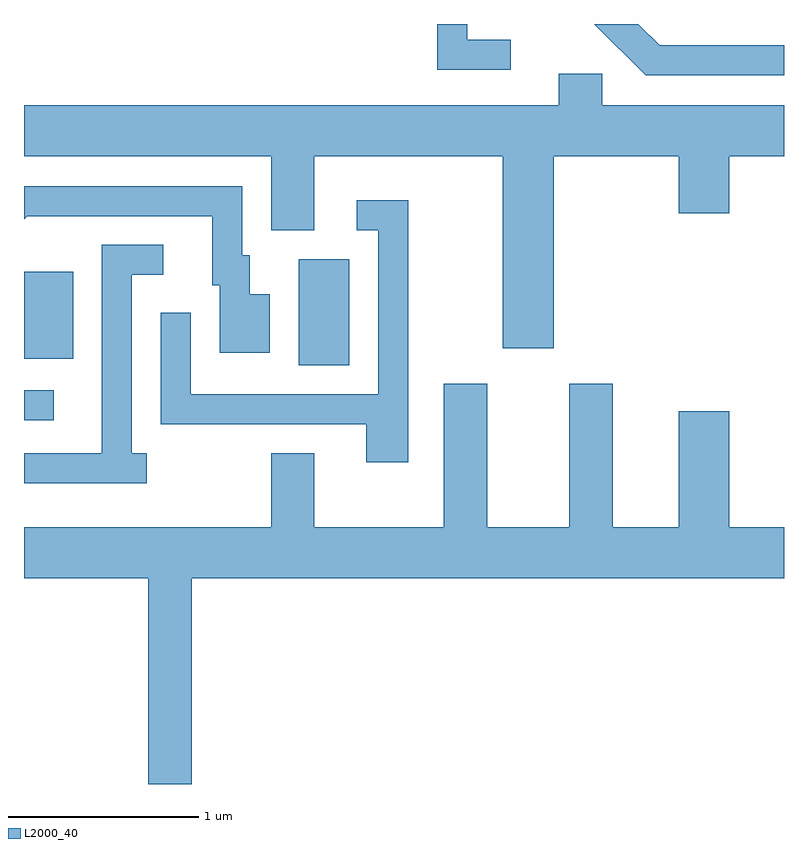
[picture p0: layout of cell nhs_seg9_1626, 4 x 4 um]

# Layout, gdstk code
import gdstk
lib = gdstk.Library(unit=1e-6, precision=1e-09)
def R(c, l, rs):  # rectangles x0, y0, x1, y1
    for r in rs: c.add(gdstk.rectangle(r[:2], r[2:], *l))
def P(c, l, *ps):  # polygons
    for p in ps: c.add(gdstk.Polygon(p, *l))
L2000_40 = (2000, 40)

nhs_seg9_1626 = lib.new_cell('nhs_seg9_1626')
R(nhs_seg9_1626, L2000_40, [(231.611,2070.346,231.768,2070.504), (233.056,2070.636,233.324,2071.194), (231.611,2070.671,231.869,2071.129)])
P(nhs_seg9_1626, L2000_40, [(235.611,2072.319),(234.957,2072.319),(234.844,2072.432),(234.612,2072.432),(234.884,2072.161),(235.611,2072.161)],
  [(234.173,2072.349),(233.944,2072.349),(233.944,2072.432),(233.786,2072.432),(233.786,2072.191),(234.173,2072.191)],
  [(231.611,2071.736),(232.911,2071.736),(232.911,2071.346),(233.139,2071.346),(233.139,2071.736),(234.131,2071.736),(234.131,2070.726),(234.399,2070.726),(234.399,2071.736),(235.056,2071.736),(235.056,2071.436),(235.324,2071.436),(235.324,2071.736),(235.611,2071.736),(235.611,2072.004),(234.654,2072.004),(234.654,2072.169),(234.426,2072.169),(234.426,2072.004),(231.611,2072.004)],
  [(232.904,2071.009),(232.799,2071.009),(232.799,2071.214),(232.759,2071.214),(232.759,2071.579),(231.611,2071.579),(231.611,2071.405),(231.627,2071.421),(232.601,2071.421),(232.601,2071.056),(232.641,2071.056),(232.641,2070.701),(232.904,2070.701)],
  [(233.634,2071.504),(233.363,2071.504),(233.363,2071.346),(233.476,2071.346),(233.476,2070.484),(232.489,2070.484),(232.489,2070.913),(232.331,2070.913),(232.331,2070.326),(233.411,2070.326),(233.411,2070.126),(233.634,2070.126)],
  [(232.258,2070.174),(232.179,2070.174),(232.179,2071.111),(232.343,2071.111),(232.343,2071.269),(232.021,2071.269),(232.021,2070.174),(231.611,2070.174),(231.611,2070.016),(232.258,2070.016)],
  [(232.494,2069.516),(235.611,2069.516),(235.611,2069.784),(235.324,2069.784),(235.324,2070.394),(235.056,2070.394),(235.056,2069.784),(234.709,2069.784),(234.709,2070.539),(234.481,2070.539),(234.481,2069.784),(234.049,2069.784),(234.049,2070.539),(233.821,2070.539),(233.821,2069.784),(233.139,2069.784),(233.139,2070.174),(232.911,2070.174),(232.911,2069.784),(231.611,2069.784),(231.611,2069.516),(232.266,2069.516),(232.266,2068.432),(232.494,2068.432)])

lib.write_gds('nhs_seg9_1626.gds')
